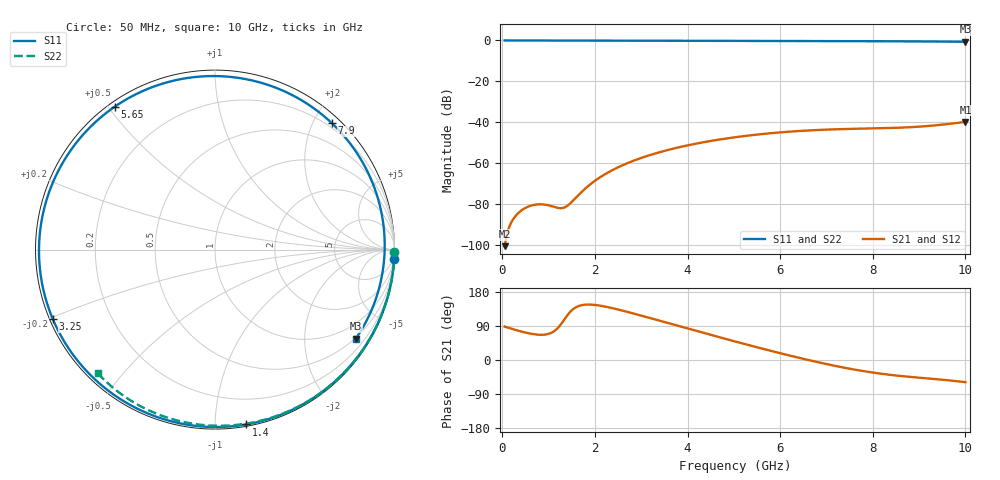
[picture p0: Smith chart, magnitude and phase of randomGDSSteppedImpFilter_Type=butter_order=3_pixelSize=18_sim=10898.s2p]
! freq	dB(S11)	phase(S11)	dB(S12)	phase(S12)
!  dB(S21)	phase(S21)	dB(S22)	phase(S22)
!S-par simulation data
#  GHz  S  DB  R 50
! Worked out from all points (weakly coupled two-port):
!   200 points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, 50 MHz to 10 GHz, reference 50 ohm
!   highest |S21| = -39.76 dB at 10 GHz (marker M1); lowest = -100.4 dB at 50 MHz (marker M2)
!   lowest |S11| = -0.6 dB at 10 GHz (marker M3), VSWR 26.89, Z = 23.7 - j170 ohm
!   |S11| at or under -10 dB: nowhere
!   |S22| runs from -0.5 to 0.0 dB; largest |S21 - S12| = 0
!   S11 on the Smith chart (normalised r, x): 50 MHz: 0, -37; 1.4 GHz: 0.01, -1.19; 3.25 GHz: 0.01, -0.20; 5.65 GHz: 0.02, +0.52; 7.9 GHz: 0.13, +2.28; 10 GHz: 0.47, -3.39
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0.05  -0.00 -3.1  -100.44 88.1  -100.44 88.1  -0.00 -0.8
0.4  -0.03 -24.3  -83.20 75.5  -83.20 75.5  -0.01 -6.1
0.75  -0.06 -44.8  -80.07 67.0  -80.07 67.0  -0.01 -11.5
1.05  -0.07 -61.5  -80.79 71.2  -80.79 71.2  -0.02 -16.0
1.4  -0.09 -79.8  -80.82 117.3  -80.82 117.3  -0.03 -21.3
1.45  -0.09 -82.4  -79.91 124.8  -79.91 124.8  -0.03 -22.1
1.75  -0.11 -96.8  -73.17 145.5  -73.17 145.5  -0.03 -26.6
2.05  -0.12 -110.3  -67.74 144.5  -67.74 144.5  -0.04 -31.0
2.4  -0.13 -125.0  -63.06 136.2  -63.06 136.2  -0.05 -36.2
3.25  -0.15 -156.8  -55.53 108.7  -55.53 108.7  -0.06 -48.4
3.4  -0.15 -162.0  -54.55 103.6  -54.55 103.6  -0.07 -50.6
4.2  -0.18 171.4  -50.31 76.4  -50.31 76.4  -0.09 -61.7
5.05  -0.21 144.3  -47.19 48.1  -47.19 48.1  -0.11 -73.2
5.65  -0.24 125.0  -45.61 28.8  -45.61 28.8  -0.13 -81.0
6.2  -0.27 107.0  -44.53 11.9  -44.53 11.9  -0.16 -88.1
6.7  -0.29 90.1  -43.84 -2.6  -43.84 -2.6  -0.18 -94.3
7.3  -0.32 69.1  -43.31 -18.3  -43.31 -18.3  -0.22 -101.7
7.9  -0.36 47.3  -43.00 -31.3  -43.00 -31.3  -0.26 -108.9
8.35  -0.40 30.5  -42.77 -38.8  -42.77 -38.8  -0.29 -114.3
9.15  -0.49 0.1  -41.85 -48.3  -41.85 -48.3  -0.36 -123.6
9.55  -0.55 -15.1  -40.99 -52.6  -40.99 -52.6  -0.40 -128.3
10  -0.65 -32.3  -39.76 -58.6  -39.76 -58.6  -0.45 -133.5
